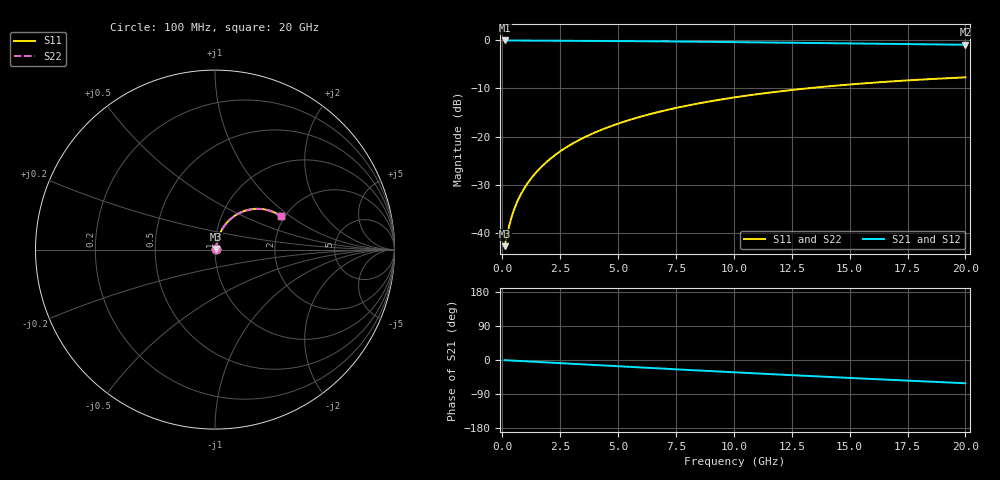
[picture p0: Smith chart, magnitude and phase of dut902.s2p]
! Touchstone file exported from HFSS 2026.1.0
!  File:  C:/ffzhzh/LocalFiles/Ansys_Project_Files/temp_train_BSMRDL_902_1783171426_55132.aedt
!  Generated:  09:25:04 PM Jul  4, 2026
!  Design:  BSMRDL
!  Project:  temp_train_BSMRDL_902_1783171426_55132
! Variables:
!  h_bsmrdl = 2.09um
!  h_ox = 20um
!  h_rdl = 5um
!  h_sub = 80um
!  h_tmrdl = 5um
!  h_tsv = 80um
!  h_via = 3um
!  l_bsmrdl = 993.51um
!  l_sub = 1393.51um
!  l_tmrdl = 200um
!  m_sub = 200um
!  pitch = 46.21um
!  r_tsv = 6um
!  s_tmrdl = 10um
!  w_bsmrdl = 27.02um
!  w_sub = 500um
!  w_tmrdl = 12um
!  x_tsv_center1 = 206um
!  x_tsv_center2 = 1226.53um
!  x_tsv_center3 = 1438.53um
!  x_tsv_center4 = 2459.06um
!  x_tsv_center5 = 2671.06um
!  x_tsv_center6 = 3691.59um
# GHz S MA R 50.000000
! Terminal data exported
! Port[1] = BSM_RDL1_1_T1
! Port[2] = BSM_RDL1_1_T2
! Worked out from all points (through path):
!   200 points, 100 MHz to 20 GHz, reference 50 ohm
!   highest |S21| = -0.06 dB at 100 MHz (marker M1); lowest = -0.9 dB at 20 GHz (marker M2)
!   group delay of S21, straight-line fit = 8.53 ps
!   lowest |S11| = -42.7 dB at 100 MHz (marker M3), VSWR 1.01, Z = 50.7 + j0.332 ohm
!   |S11| at or under -10 dB: start of sweep to 13.16 GHz
!   |S22| runs from -42.7 to -7.7 dB; largest |S21 - S12| = 7.2e-15
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0.1  0.007305 26.6  0.9935 -0.4  0.9935 -0.4  0.007305 26.6
! Gamma 0 0 0 0
! Port Impedance 50 0 50 0
0.3  0.01196 52.6  0.9929 -1.1  0.9929 -1.1  0.01196 52.6
0.4  0.01462 58.0  0.9925 -1.4  0.9925 -1.4  0.01462 58.0
0.5  0.01729 61.5  0.9921 -1.8  0.9921 -1.8  0.01729 61.5
0.6  0.01993 64.1  0.9918 -2.1  0.9918 -2.1  0.01993 64.1
0.8  0.02516 67.5  0.9912 -2.8  0.9912 -2.8  0.02516 67.5
1  0.03039 69.8  0.9908 -3.4  0.9908 -3.4  0.03039 69.8
1.2  0.03564 71.3  0.9904 -4.1  0.9904 -4.1  0.03564 71.3
1.4  0.04093 72.4  0.9901 -4.7  0.9901 -4.7  0.04093 72.4
1.7  0.0489 73.3  0.9896 -5.7  0.9896 -5.7  0.0489 73.3
2.2  0.06227 73.9  0.9886 -7.4  0.9886 -7.4  0.06227 73.8
2.8  0.07834 73.6  0.9873 -9.3  0.9873 -9.3  0.07834 73.5
3.5  0.09699 72.5  0.9854 -11.7  0.9854 -11.7  0.09699 72.5
4.2  0.1155 71.1  0.9833 -13.9  0.9833 -13.9  0.1155 71.0
5  0.1362 69.1  0.9804 -16.6  0.9804 -16.6  0.1362 69.1
5.9  0.1591 66.7  0.9767 -19.5  0.9767 -19.5  0.1591 66.7
6.8  0.1814 64.2  0.9726 -22.4  0.9726 -22.4  0.1814 64.2
8.3  0.2169 59.9  0.9648 -27.1  0.9648 -27.1  0.2169 59.8
10.1  0.2567 54.7  0.9545 -32.7  0.9545 -32.7  0.2567 54.6
13.4  0.3205 45.1  0.9342 -42.7  0.9342 -42.7  0.3205 45.0
16.7  0.3721 35.9  0.9143 -52.2  0.9143 -52.2  0.3721 35.7
20  0.4116 27.0  0.8969 -61.3  0.8969 -61.3  0.4116 26.8
